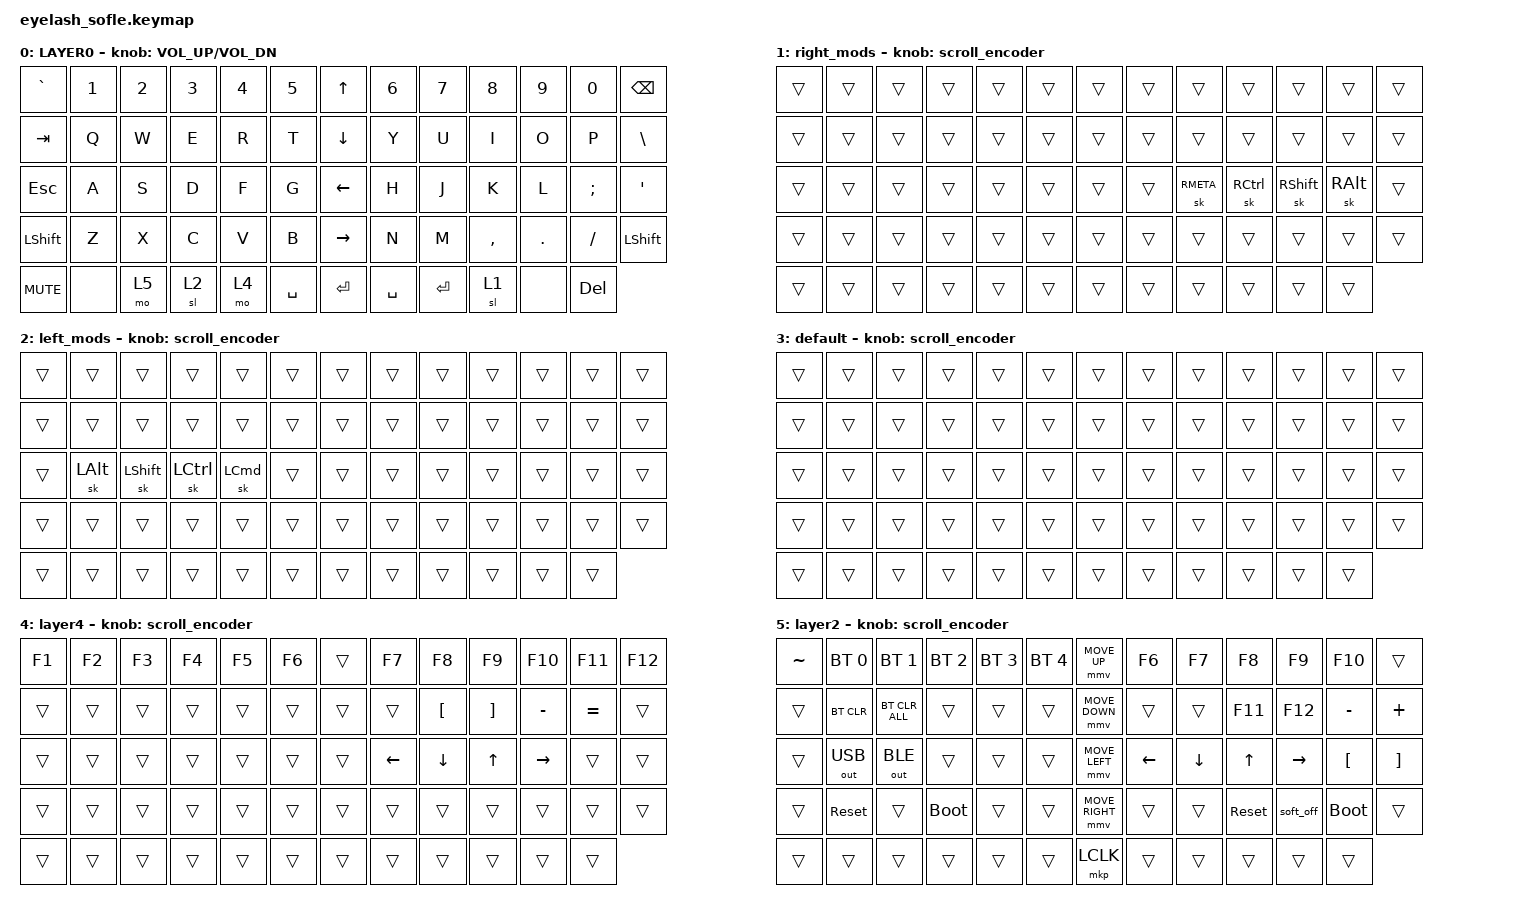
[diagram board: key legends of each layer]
#define ZMK_POINTING_DEFAULT_MOVE_VAL 1200  // 600
#define ZMK_POINTING_DEFAULT_SCRL_VAL 25   // 10

#include <input/processors.dtsi>
#include <zephyr/dt-bindings/input/input-event-codes.h>
#include <behaviors.dtsi>
#include <dt-bindings/zmk/bt.h>
#include <dt-bindings/zmk/keys.h>
#include <dt-bindings/zmk/outputs.h>
#include <dt-bindings/zmk/pointing.h>

&mmv_input_listener { input-processors = <&zip_xy_scaler 2 1>; };

&msc_input_listener { input-processors = <&zip_scroll_scaler 2 1>; };

&msc {
    acceleration-exponent = <1>;      // 0
    time-to-max-speed-ms = <100>;       // 300
    delay-ms = <0>;                   // 0
};

&mmv {
    time-to-max-speed-ms = <500>;
    acceleration-exponent = <1>;
    trigger-period-ms = <16>;
};

&soft_off { hold-time-ms = <2000>; };

/ {
    scroll_encoder: scroll_encoder {
        compatible = "zmk,behavior-sensor-rotate";
        #sensor-binding-cells = <0>;
        bindings = <&msc SCRL_DOWN>, <&msc SCRL_UP>;

        tap-ms = <100>;
    };

    behaviors {
    };

    combos {
        compatible = "zmk,combos";

        softoff {
            bindings = <&soft_off>;
            key-positions = <14 28 40>;
        };
    };

    keymap {
        compatible = "zmk,keymap";

        layer0 {
            bindings = <
&kp GRAVE   &kp N1  &kp N2  &kp N3  &kp N4  &kp N5       &kp UP_ARROW     &kp N6     &kp N7     &kp N8     &kp N9   &kp N0    &kp BACKSPACE
&kp TAB     &kp Q   &kp W   &kp E   &kp R   &kp T        &kp DOWN_ARROW   &kp Y      &kp U      &kp I      &kp O    &kp P     &kp BSLH
&kp ESCAPE  &kp A   &kp S   &kp D   &kp F   &kp G        &kp LEFT_ARROW   &kp H      &kp J      &kp K      &kp L    &kp SEMI  &kp APOS
&kp LSHFT   &kp Z   &kp X   &kp C   &kp V   &kp B        &kp RIGHT_ARROW  &kp N      &kp M      &kp COMMA  &kp DOT  &kp FSLH  &kp LEFT_SHIFT
&kp C_MUTE  &none   &mo 5   &sl 2   &mo 4   &kp SPACE    &kp ENTER        &kp SPACE  &kp ENTER  &sl 1      &none    &kp DEL
            >;

            sensor-bindings = <&inc_dec_kp C_VOLUME_UP C_VOL_DN>;
            display-name = "LAYER0";
        };

        right_mods {
            bindings = <
&trans  &trans  &trans  &trans  &trans  &trans    &trans  &trans  &trans     &trans     &trans           &trans         &trans
&trans  &trans  &trans  &trans  &trans  &trans    &trans  &trans  &trans     &trans     &trans           &trans         &trans
&trans  &trans  &trans  &trans  &trans  &trans    &trans  &trans  &sk RMETA  &sk RCTRL  &sk RIGHT_SHIFT  &sk RIGHT_ALT  &trans
&trans  &trans  &trans  &trans  &trans  &trans    &trans  &trans  &trans     &trans     &trans           &trans         &trans
&trans  &trans  &trans  &trans  &trans  &trans    &trans  &trans  &trans     &trans     &trans           &trans
            >;

            display-name = "right_mods";
            sensor-bindings = <&scroll_encoder>;
        };

        left_mods {
            display-name = "left_mods";
            bindings = <
&trans  &trans    &trans          &trans     &trans    &trans    &trans  &trans  &trans  &trans  &trans  &trans  &trans
&trans  &trans    &trans          &trans     &trans    &trans    &trans  &trans  &trans  &trans  &trans  &trans  &trans
&trans  &sk LALT  &sk LEFT_SHIFT  &sk LCTRL  &sk LCMD  &trans    &trans  &trans  &trans  &trans  &trans  &trans  &trans
&trans  &trans    &trans          &trans     &trans    &trans    &trans  &trans  &trans  &trans  &trans  &trans  &trans
&trans  &trans    &trans          &trans     &trans    &trans    &trans  &trans  &trans  &trans  &trans  &trans
            >;

            sensor-bindings = <&scroll_encoder>;
        };

        default {
            display-name = "default";
            bindings = <
&trans  &trans  &trans  &trans  &trans  &trans    &trans  &trans  &trans  &trans  &trans  &trans  &trans
&trans  &trans  &trans  &trans  &trans  &trans    &trans  &trans  &trans  &trans  &trans  &trans  &trans
&trans  &trans  &trans  &trans  &trans  &trans    &trans  &trans  &trans  &trans  &trans  &trans  &trans
&trans  &trans  &trans  &trans  &trans  &trans    &trans  &trans  &trans  &trans  &trans  &trans  &trans
&trans  &trans  &trans  &trans  &trans  &trans    &trans  &trans  &trans  &trans  &trans  &trans
            >;

            sensor-bindings = <&scroll_encoder>;
        };

        layer_4 {
            bindings = <
&kp F1  &kp F2  &kp F3  &kp F4  &kp F5  &kp F6    &trans  &kp F7    &kp F8    &kp F9    &kp F10    &kp F11    &kp F12
&trans  &trans  &trans  &trans  &trans  &trans    &trans  &trans    &kp LBKT  &kp RBKT  &kp MINUS  &kp EQUAL  &trans
&trans  &trans  &trans  &trans  &trans  &trans    &trans  &kp LEFT  &kp DOWN  &kp UP    &kp RIGHT  &trans     &trans
&trans  &trans  &trans  &trans  &trans  &trans    &trans  &trans    &trans    &trans    &trans     &trans     &trans
&trans  &trans  &trans  &trans  &trans  &trans    &trans  &trans    &trans    &trans    &trans     &trans
            >;

            display-name = "layer4";
            sensor-bindings = <&scroll_encoder>;
        };

        layer_2 {
            bindings = <
&kp TILDE  &bt BT_SEL 0  &bt BT_SEL 1    &bt BT_SEL 2  &bt BT_SEL 3  &bt BT_SEL 4    &mmv MOVE_UP     &kp F6    &kp F7    &kp F8      &kp F9     &kp F10           &trans
&trans     &bt BT_CLR    &bt BT_CLR_ALL  &trans        &trans        &trans          &mmv MOVE_DOWN   &trans    &trans    &kp F11     &kp F12    &kp MINUS         &kp PLUS
&trans     &out OUT_USB  &out OUT_BLE    &trans        &trans        &trans          &mmv MOVE_LEFT   &kp LEFT  &kp DOWN  &kp UP      &kp RIGHT  &kp LEFT_BRACKET  &kp RIGHT_BRACKET
&trans     &sys_reset    &trans          &bootloader   &trans        &trans          &mmv MOVE_RIGHT  &trans    &trans    &sys_reset  &soft_off  &bootloader       &trans
&trans     &trans        &trans          &trans        &trans        &trans          &mkp LCLK        &trans    &trans    &trans      &trans     &trans
            >;

            display-name = "layer2";
            sensor-bindings = <&scroll_encoder>;
        };
    };
};
